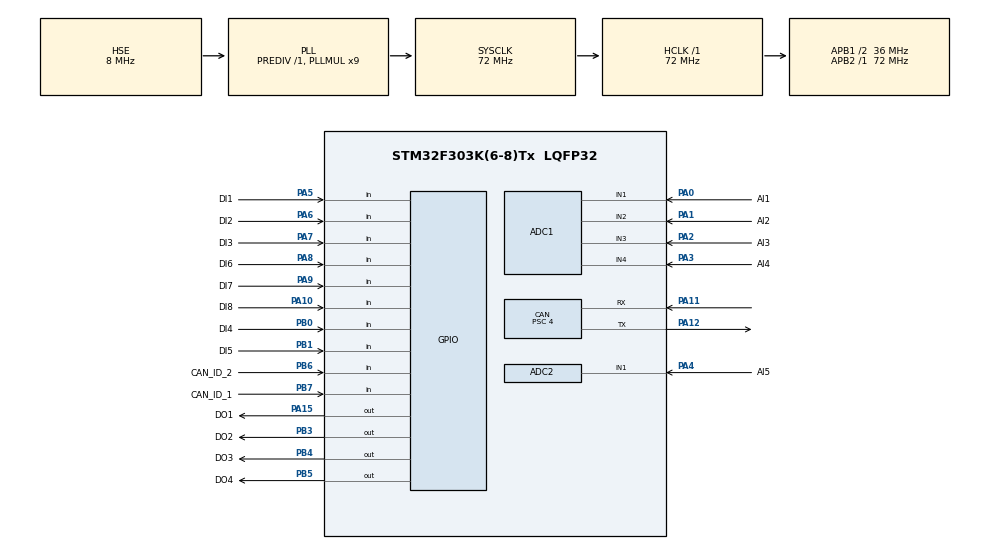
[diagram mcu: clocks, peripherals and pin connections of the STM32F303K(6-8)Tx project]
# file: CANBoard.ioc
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ADC1.Channel-0\#ChannelRegularConversion=ADC_CHANNEL_1
ADC1.Channel-1\#ChannelRegularConversion=ADC_CHANNEL_2
ADC1.Channel-2\#ChannelRegularConversion=ADC_CHANNEL_3
ADC1.Channel-3\#ChannelRegularConversion=ADC_CHANNEL_4
ADC1.Channel-4\#ChannelRegularConversion=ADC_CHANNEL_TEMPSENSOR
ADC1.ClockPrescaler=ADC_CLOCK_SYNC_PCLK_DIV4
ADC1.ContinuousConvMode=ENABLE
ADC1.DMAContinuousRequests=ENABLE
ADC1.NbrOfConversion=5
ADC1.NbrOfConversionFlag=1
ADC1.Offset-0\#ChannelRegularConversion=0
ADC1.Offset-1\#ChannelRegularConversion=0
ADC1.Offset-2\#ChannelRegularConversion=0
ADC1.Offset-3\#ChannelRegularConversion=0
ADC1.Offset-4\#ChannelRegularConversion=0
ADC1.OffsetNumber-0\#ChannelRegularConversion=ADC_OFFSET_NONE
ADC1.OffsetNumber-1\#ChannelRegularConversion=ADC_OFFSET_NONE
ADC1.OffsetNumber-2\#ChannelRegularConversion=ADC_OFFSET_NONE
ADC1.OffsetNumber-3\#ChannelRegularConversion=ADC_OFFSET_NONE
ADC1.OffsetNumber-4\#ChannelRegularConversion=ADC_OFFSET_NONE
ADC1.Rank-0\#ChannelRegularConversion=1
ADC1.Rank-1\#ChannelRegularConversion=2
ADC1.Rank-2\#ChannelRegularConversion=3
ADC1.Rank-3\#ChannelRegularConversion=4
ADC1.Rank-4\#ChannelRegularConversion=5
ADC1.SamplingTime-0\#ChannelRegularConversion=ADC_SAMPLETIME_601CYCLES_5
ADC1.SamplingTime-1\#ChannelRegularConversion=ADC_SAMPLETIME_601CYCLES_5
ADC1.SamplingTime-2\#ChannelRegularConversion=ADC_SAMPLETIME_601CYCLES_5
ADC1.SamplingTime-3\#ChannelRegularConversion=ADC_SAMPLETIME_601CYCLES_5
ADC1.SamplingTime-4\#ChannelRegularConversion=ADC_SAMPLETIME_601CYCLES_5
ADC1.SamplingTimeOPAMP-1\#ChannelRegularConversion=ADC_SAMPLETIME_7CYCLES_5
ADC1.SamplingTimeOPAMP-2\#ChannelRegularConversion=ADC_SAMPLETIME_7CYCLES_5
ADC1.SamplingTimeOPAMP-3\#ChannelRegularConversion=ADC_SAMPLETIME_7CYCLES_5
ADC1.SamplingTimeOPAMP-4\#ChannelRegularConversion=ADC_SAMPLETIME_7CYCLES_5
ADC1.SubFamily=STM32F303x8
ADC1.master=1
ADC2.Channel-0\#ChannelRegularConversion=ADC_CHANNEL_1
ADC2.ClockPrescaler=ADC_CLOCK_SYNC_PCLK_DIV4
ADC2.ContinuousConvMode=ENABLE
ADC2.DMAContinuousRequests=ENABLE
ADC2.NbrOfConversionFlag=1
ADC2.Offset-0\#ChannelRegularConversion=0
ADC2.OffsetNumber-0\#ChannelRegularConversion=ADC_OFFSET_NONE
ADC2.Rank-0\#ChannelRegularConversion=1
ADC2.SamplingTime-0\#ChannelRegularConversion=ADC_SAMPLETIME_601CYCLES_5
ADC2.SamplingTimeOPAMP-0\#ChannelRegularConversion=ADC_SAMPLETIME_61CYCLES_5
ADC2.SubFamily=STM32F303x8
CAN.BS1=CAN_BS1_15TQ
CAN.BS2=CAN_BS2_2TQ
CAN.CalculateBaudRate=500000
CAN.CalculateTimeBit=2000
CAN.CalculateTimeQuantum=111.11111111111111
CAN.Prescaler=4
CRC.InputDataInversionMode=CRC_INPUTDATA_INVERSION_BYTE
CRC.OutputDataInversionMode=CRC_OUTPUTDATA_INVERSION_ENABLE
Dma.ADC1.0.Direction=DMA_PERIPH_TO_MEMORY
Dma.ADC1.0.Instance=DMA1_Channel1
Dma.ADC1.0.MemDataAlignment=DMA_MDATAALIGN_HALFWORD
Dma.ADC1.0.MemInc=DMA_MINC_ENABLE
Dma.ADC1.0.Mode=DMA_CIRCULAR
Dma.ADC1.0.PeriphDataAlignment=DMA_PDATAALIGN_HALFWORD
Dma.ADC1.0.PeriphInc=DMA_PINC_DISABLE
Dma.ADC1.0.Priority=DMA_PRIORITY_LOW
Dma.ADC2.1.Direction=DMA_PERIPH_TO_MEMORY
Dma.ADC2.1.Instance=DMA1_Channel2
Dma.ADC2.1.MemDataAlignment=DMA_MDATAALIGN_HALFWORD
Dma.ADC2.1.MemInc=DMA_MINC_ENABLE
Dma.ADC2.1.Mode=DMA_CIRCULAR
Dma.ADC2.1.PeriphDataAlignment=DMA_PDATAALIGN_HALFWORD
Dma.ADC2.1.PeriphInc=DMA_PINC_DISABLE
Dma.ADC2.1.Priority=DMA_PRIORITY_LOW
Dma.Request0=ADC1
Dma.Request1=ADC2
FREERTOS.Tasks01=defaultTask,24,128,StartDefaultTask,Default,NULL,Dynamic,NULL,NULL;CanTxTask,8,128,StartCanTxTask,Default,NULL,Dynamic,NULL,NULL
Mcu.Family=STM32F3
Mcu.Name=STM32F303K(6-8)Tx
Mcu.Package=LQFP32
NVIC.CAN_RX0_IRQn=true\:5\:0\:false\:false\:true\:false\:true\:true\:true
NVIC.DMA1_Channel1_IRQn=true\:5\:0\:false\:false\:true\:true\:false\:true\:true
NVIC.DMA1_Channel2_IRQn=true\:5\:0\:false\:false\:true\:true\:false\:true\:true
NVIC.PriorityGroup=NVIC_PRIORITYGROUP_4
NVIC.TIM6_DAC1_IRQn=true\:0\:0\:false\:false\:true\:false\:false\:true\:true
NVIC.TimeBase=TIM6_DAC1_IRQn
NVIC.TimeBaseIP=TIM6
PA0.GPIO_Label=AI1
PA0.Mode=IN1-Single-Ended
PA0.Signal=ADC1_IN1
PA1.GPIO_Label=AI2
PA1.Mode=IN2-Single-Ended
PA1.Signal=ADC1_IN2
PA10.GPIO_Label=DI8
PA10.GPIO_PuPd=GPIO_PULLUP
PA10.Signal=GPIO_Input
PA11.Mode=CAN_Activate
PA11.Signal=CAN_RX
PA12.Mode=CAN_Activate
PA12.Signal=CAN_TX
PA13.Mode=Serial_Wire
PA13.Signal=SYS_JTMS-SWDIO
PA14.Mode=Serial_Wire
PA14.Signal=SYS_JTCK-SWCLK
PA15.GPIO_Label=DO1
PA15.GPIO_PuPd=GPIO_NOPULL
PA15.Signal=GPIO_Output
PA2.GPIO_Label=AI3
PA2.Mode=IN3-Single-Ended
PA2.Signal=ADC1_IN3
PA3.GPIO_Label=AI4
PA3.Mode=IN4-Single-Ended
PA3.Signal=ADC1_IN4
PA4.GPIO_Label=AI5
PA4.Mode=IN1-Single-Ended
PA4.Signal=ADC2_IN1
PA5.GPIO_Label=DI1
PA5.GPIO_PuPd=GPIO_PULLUP
PA5.Signal=GPIO_Input
PA6.GPIO_Label=DI2
PA6.GPIO_PuPd=GPIO_PULLUP
PA6.Signal=GPIO_Input
PA7.GPIO_Label=DI3
PA7.GPIO_PuPd=GPIO_PULLUP
PA7.Signal=GPIO_Input
PA8.GPIO_Label=DI6
PA8.GPIO_PuPd=GPIO_PULLUP
PA8.Signal=GPIO_Input
PA9.GPIO_Label=DI7
PA9.GPIO_PuPd=GPIO_PULLUP
PA9.Signal=GPIO_Input
PB0.GPIO_Label=DI4
PB0.GPIO_PuPd=GPIO_PULLUP
PB0.Signal=GPIO_Input
PB1.GPIO_Label=DI5
PB1.GPIO_PuPd=GPIO_PULLUP
PB1.Signal=GPIO_Input
PB3.GPIO_Label=DO2
PB3.GPIO_PuPd=GPIO_NOPULL
PB3.Signal=GPIO_Output
PB4.GPIO_Label=DO3
PB4.GPIO_PuPd=GPIO_NOPULL
PB4.Signal=GPIO_Output
PB5.GPIO_Label=DO4
PB5.GPIO_PuPd=GPIO_NOPULL
PB5.Signal=GPIO_Output
PB6.GPIO_Label=CAN_ID_2
PB6.GPIO_PuPd=GPIO_PULLDOWN
PB6.Signal=GPIO_Input
PB7.GPIO_Label=CAN_ID_1
PB7.GPIO_PuPd=GPIO_PULLDOWN
PB7.Signal=GPIO_Input
PF0\ /\ OSC_IN.Mode=HSE-External-Oscillator
PF0\ /\ OSC_IN.Signal=RCC_OSC_IN
PF1\ /\ OSC_OUT.Mode=HSE-External-Oscillator
PF1\ /\ OSC_OUT.Signal=RCC_OSC_OUT
ProjectManager.HeapSize=0x200
ProjectManager.StackSize=0x400
ProjectManager.TargetToolchain=CMake
RCC.AHBFreq_Value=72000000
RCC.APB1CLKDivider=RCC_HCLK_DIV2
RCC.APB1Freq_Value=36000000
RCC.APB1TimFreq_Value=72000000
RCC.APB2Freq_Value=72000000
RCC.APB2TimFreq_Value=72000000
RCC.CortexFreq_Value=72000000
RCC.HCLKFreq_Value=72000000
RCC.HSE_VALUE=8000000
RCC.HSI_VALUE=8000000
RCC.PLLMUL=RCC_PLL_MUL9
RCC.PLLSourceVirtual=RCC_PLLSOURCE_HSE
RCC.SYSCLKFreq_VALUE=72000000
RCC.SYSCLKSourceVirtual=RCC_SYSCLKSOURCE_PLLCLK
VP_ADC1_TempSens_Input.Mode=IN-TempSens
VP_CRC_VS_CRC.Mode=CRC_Activate
VP_FREERTOS_VS_CMSIS_V2.Mode=CMSIS_V2
VP_SYS_VS_tim6.Mode=TIM6
board=custom

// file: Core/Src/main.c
/* USER CODE BEGIN Header */
/**
  ******************************************************************************
  * @file           : main.c
  * @brief          : Main program body
  ******************************************************************************
  * @attention
  *
  * <h2><center>&copy; Copyright (c) 2020 STMicroelectronics.
  * All rights reserved.</center></h2>
  *
  * This software component is licensed by ST under BSD 3-Clause license,
  * the "License"; You may not use this file except in compliance with the
  * License. You may obtain a copy of the License at:
  *                        opensource.org/licenses/BSD-3-Clause
  *
  ******************************************************************************
  */
/* USER CODE END Header */
#include "main.h"
#include "cmsis_os.h"

/* USER CODE BEGIN PD */
#define MAIN_TASK_DELAY 10
#define ADC_1_COUNT 5
#define ADC_2_COUNT 1
#define DI_DEBOUNCE_TIME 10
#define CAN_BASE_ID 0x640
#define CAN_TX_DELAY 50
#define CAN_TX_MSG_SPLIT 5
/* USER CODE END PD */

ADC_HandleTypeDef hadc1;
ADC_HandleTypeDef hadc2;
DMA_HandleTypeDef hdma_adc1;
DMA_HandleTypeDef hdma_adc2;

CAN_HandleTypeDef hcan;

CRC_HandleTypeDef hcrc;

/* Definitions for defaultTask */
osThreadId_t defaultTaskHandle;
const osThreadAttr_t defaultTask_attributes = {
  .name = "defaultTask",
  .stack_size = 128 * 4,
  .priority = (osPriority_t) osPriorityNormal,
};
/* Definitions for CanTxTask */
osThreadId_t CanTxTaskHandle;
const osThreadAttr_t CanTxTask_attributes = {
  .name = "CanTxTask",
  .stack_size = 128 * 4,
  .priority = (osPriority_t) osPriorityLow,
};
/* USER CODE BEGIN PV */
const uint16_t* const STM32_TEMP_3V3_30C =  (uint16_t*)(0x1FFFF7B8);
const uint16_t* const STM32_TEMP_3V3_110C =  (uint16_t*)(0x1FFFF7C2);

volatile uint16_t anInAdc1[ADC_1_COUNT];
volatile uint16_t anInAdc2[ADC_2_COUNT];

static volatile uint8_t digIn[8];
static volatile uint8_t digOut[4];
static volatile uint16_t anIn[5];
static volatile uint16_t temperature;

static volatile uint8_t lastDigIn[8];
static volatile uint32_t digInTrigTime[8];
static volatile uint8_t checkDigInTime[8];

static CAN_TxHeaderTypeDef   CanTxHeader;
static CAN_RxHeaderTypeDef   CanRxHeader;
static uint8_t               CanTxData[8];
static uint8_t               CanRxData[8];
static uint32_t              CanTxMailbox;
static volatile uint8_t CanHeartbeat;
static volatile uint8_t nCanDigOut[4];
static volatile uint8_t nCanRotarySwitch[5];
static volatile uint8_t nCanAnalogSwitch[5];
static volatile uint8_t nCanRotaryInvert[5];

static volatile uint8_t nCanBaseIdOffset;
static volatile uint8_t nCanId1;
static volatile uint8_t nCanId2;

/* USER CODE END PV */

void SystemClock_Config(void);
static void MX_GPIO_Init(void);
static void MX_DMA_Init(void);
static void MX_ADC1_Init(void);
static void MX_CAN_Init(void);
static void MX_CRC_Init(void);
static void MX_ADC2_Init(void);
void StartDefaultTask(void *argument);
void StartCanTxTask(void *argument);

int main(void)
{

  /* MCU Configuration--------------------------------------------------------*/

  /* Reset of all peripherals, Initializes the Flash interface and the Systick. */
  HAL_Init();

  /* Configure the system clock */
  SystemClock_Config();

  /* Initialize all configured peripherals */
  MX_GPIO_Init();
  MX_DMA_Init();
  MX_ADC1_Init();
  MX_CAN_Init();
  MX_CRC_Init();
  MX_ADC2_Init();
  /* USER CODE BEGIN 2 */

  HAL_ADC_Start_DMA(&hadc1, (uint32_t*) anInAdc1, ADC_1_COUNT);
  HAL_ADC_Start_DMA(&hadc2, (uint32_t*) anInAdc2, ADC_2_COUNT);

  /* USER CODE END 2 */

  /* Init scheduler */
  osKernelInitialize();

  /* Create the thread(s) */
  /* creation of defaultTask */
  defaultTaskHandle = osThreadNew(StartDefaultTask, NULL, &defaultTask_attributes);

  /* creation of CanTxTask */
  CanTxTaskHandle = osThreadNew(StartCanTxTask, NULL, &CanTxTask_attributes);

  /* Start scheduler */
  osKernelStart();

  /* We should never get here as control is now taken by the scheduler */

  /* Infinite loop */
  while (1)
  {

  }
}

void SystemClock_Config(void)
{
  RCC_OscInitTypeDef RCC_OscInitStruct = {0};
  RCC_ClkInitTypeDef RCC_ClkInitStruct = {0};

  /** Initializes the RCC Oscillators according to the specified parameters
  * in the RCC_OscInitTypeDef structure.
  */
  RCC_OscInitStruct.OscillatorType = RCC_OSCILLATORTYPE_HSE;
  RCC_OscInitStruct.HSEState = RCC_HSE_ON;
  RCC_OscInitStruct.HSEPredivValue = RCC_HSE_PREDIV_DIV1;
  RCC_OscInitStruct.HSIState = RCC_HSI_ON;
  RCC_OscInitStruct.PLL.PLLState = RCC_PLL_ON;
  RCC_OscInitStruct.PLL.PLLSource = RCC_PLLSOURCE_HSE;
  RCC_OscInitStruct.PLL.PLLMUL = RCC_PLL_MUL9;
  if (HAL_RCC_OscConfig(&RCC_OscInitStruct) != HAL_OK)
  {
    Error_Handler();
  }

  /** Initializes the CPU, AHB and APB buses clocks
  */
  RCC_ClkInitStruct.ClockType = RCC_CLOCKTYPE_HCLK|RCC_CLOCKTYPE_SYSCLK
                              |RCC_CLOCKTYPE_PCLK1|RCC_CLOCKTYPE_PCLK2;
  RCC_ClkInitStruct.SYSCLKSource = RCC_SYSCLKSOURCE_PLLCLK;
  RCC_ClkInitStruct.AHBCLKDivider = RCC_SYSCLK_DIV1;
  RCC_ClkInitStruct.APB1CLKDivider = RCC_HCLK_DIV2;
  RCC_ClkInitStruct.APB2CLKDivider = RCC_HCLK_DIV1;

  if (HAL_RCC_ClockConfig(&RCC_ClkInitStruct, FLASH_LATENCY_2) != HAL_OK)
  {
    Error_Handler();
  }
}

static void MX_ADC1_Init(void)
{

  ADC_MultiModeTypeDef multimode = {0};
  ADC_ChannelConfTypeDef sConfig = {0};

  /** Common config
  */
  hadc1.Instance = ADC1;
  hadc1.Init.ClockPrescaler = ADC_CLOCK_SYNC_PCLK_DIV4;
  hadc1.Init.Resolution = ADC_RESOLUTION_12B;
  hadc1.Init.ScanConvMode = ADC_SCAN_ENABLE;
  hadc1.Init.ContinuousConvMode = ENABLE;
  hadc1.Init.DiscontinuousConvMode = DISABLE;
  hadc1.Init.ExternalTrigConvEdge = ADC_EXTERNALTRIGCONVEDGE_NONE;
  hadc1.Init.ExternalTrigConv = ADC_SOFTWARE_START;
  hadc1.Init.DataAlign = ADC_DATAALIGN_RIGHT;
  hadc1.Init.NbrOfConversion = 5;
  hadc1.Init.DMAContinuousRequests = ENABLE;
  hadc1.Init.EOCSelection = ADC_EOC_SINGLE_CONV;
  hadc1.Init.LowPowerAutoWait = DISABLE;
  hadc1.Init.Overrun = ADC_OVR_DATA_OVERWRITTEN;
  if (HAL_ADC_Init(&hadc1) != HAL_OK)
  {
    Error_Handler();
  }

  /** Configure the ADC multi-mode
  */
  multimode.Mode = ADC_MODE_INDEPENDENT;
  if (HAL_ADCEx_MultiModeConfigChannel(&hadc1, &multimode) != HAL_OK)
  {
    Error_Handler();
  }

  /** Configure Regular Channel
  */
  sConfig.Channel = ADC_CHANNEL_1;
  sConfig.Rank = ADC_REGULAR_RANK_1;
  sConfig.SingleDiff = ADC_SINGLE_ENDED;
  sConfig.SamplingTime = ADC_SAMPLETIME_601CYCLES_5;
  sConfig.OffsetNumber = ADC_OFFSET_NONE;
  sConfig.Offset = 0;
  if (HAL_ADC_ConfigChannel(&hadc1, &sConfig) != HAL_OK)
  {
    Error_Handler();
  }

  /** Configure Regular Channel
  */
  sConfig.Channel = ADC_CHANNEL_2;
  sConfig.Rank = ADC_REGULAR_RANK_2;
  if (HAL_ADC_ConfigChannel(&hadc1, &sConfig) != HAL_OK)
  {
    Error_Handler();
  }

  /** Configure Regular Channel
  */
  sConfig.Channel = ADC_CHANNEL_3;
  sConfig.Rank = ADC_REGULAR_RANK_3;
  if (HAL_ADC_ConfigChannel(&hadc1, &sConfig) != HAL_OK)
  {
    Error_Handler();
  }

  /** Configure Regular Channel
  */
  sConfig.Channel = ADC_CHANNEL_4;
  sConfig.Rank = ADC_REGULAR_RANK_4;
  if (HAL_ADC_ConfigChannel(&hadc1, &sConfig) != HAL_OK)
  {
    Error_Handler();
  }

  /** Configure Regular Channel
  */
  sConfig.Channel = ADC_CHANNEL_TEMPSENSOR;
  sConfig.Rank = ADC_REGULAR_RANK_5;
  if (HAL_ADC_ConfigChannel(&hadc1, &sConfig) != HAL_OK)
  {
    Error_Handler();
  }

}

static void MX_ADC2_Init(void)
{

  ADC_ChannelConfTypeDef sConfig = {0};

  /** Common config
  */
  hadc2.Instance = ADC2;
  hadc2.Init.ClockPrescaler = ADC_CLOCK_SYNC_PCLK_DIV4;
  hadc2.Init.Resolution = ADC_RESOLUTION_12B;
  hadc2.Init.ScanConvMode = ADC_SCAN_DISABLE;
  hadc2.Init.ContinuousConvMode = ENABLE;
  hadc2.Init.DiscontinuousConvMode = DISABLE;
  hadc2.Init.ExternalTrigConvEdge = ADC_EXTERNALTRIGCONVEDGE_NONE;
  hadc2.Init.ExternalTrigConv = ADC_SOFTWARE_START;
  hadc2.Init.DataAlign = ADC_DATAALIGN_RIGHT;
  hadc2.Init.NbrOfConversion = 1;
  hadc2.Init.DMAContinuousRequests = ENABLE;
  hadc2.Init.EOCSelection = ADC_EOC_SINGLE_CONV;
  hadc2.Init.LowPowerAutoWait = DISABLE;
  hadc2.Init.Overrun = ADC_OVR_DATA_OVERWRITTEN;
  if (HAL_ADC_Init(&hadc2) != HAL_OK)
  {
    Error_Handler();
  }

  /** Configure Regular Channel
  */
  sConfig.Channel = ADC_CHANNEL_1;
  sConfig.Rank = ADC_REGULAR_RANK_1;
  sConfig.SingleDiff = ADC_SINGLE_ENDED;
  sConfig.SamplingTime = ADC_SAMPLETIME_601CYCLES_5;
  sConfig.OffsetNumber = ADC_OFFSET_NONE;
  sConfig.Offset = 0;
  if (HAL_ADC_ConfigChannel(&hadc2, &sConfig) != HAL_OK)
  {
    Error_Handler();
  }

}

static void MX_CAN_Init(void)
{

  hcan.Instance = CAN;
  hcan.Init.Prescaler = 4;
  hcan.Init.Mode = CAN_MODE_NORMAL;
  hcan.Init.SyncJumpWidth = CAN_SJW_1TQ;
  hcan.Init.TimeSeg1 = CAN_BS1_15TQ;
  hcan.Init.TimeSeg2 = CAN_BS2_2TQ;
  hcan.Init.TimeTriggeredMode = DISABLE;
  hcan.Init.AutoBusOff = DISABLE;
  hcan.Init.AutoWakeUp = DISABLE;
  hcan.Init.AutoRetransmission = DISABLE;
  hcan.Init.ReceiveFifoLocked = DISABLE;
  hcan.Init.TransmitFifoPriority = DISABLE;
  if (HAL_CAN_Init(&hcan) != HAL_OK)
  {
    Error_Handler();
  }
  /* USER CODE BEGIN CAN_Init 2 */
  //---------------------------------------------------------------
  //Set CAN RX filter
  //---------------------------------------------------------------
  CAN_FilterTypeDef  sFilterConfig;

  sFilterConfig.FilterBank = 0;
  sFilterConfig.FilterMode = CAN_FILTERMODE_IDMASK;
  sFilterConfig.FilterScale = CAN_FILTERSCALE_32BIT;
  sFilterConfig.FilterIdHigh = 0x0000;
  sFilterConfig.FilterIdLow = 0x0000;
  sFilterConfig.FilterMaskIdHigh = 0x0000;
  sFilterConfig.FilterMaskIdLow = 0x0000;
  sFilterConfig.FilterFIFOAssignment = CAN_RX_FIFO0;
  sFilterConfig.FilterActivation = ENABLE;
  sFilterConfig.SlaveStartFilterBank = 14;

  if (HAL_CAN_ConfigFilter(&hcan, &sFilterConfig) != HAL_OK)
  {
    /* Filter configuration Error */
    Error_Handler();
  }

  CanTxHeader.StdId = CAN_BASE_ID + nCanBaseIdOffset;
  CanTxHeader.ExtId = 0;
  CanTxHeader.RTR = CAN_RTR_DATA;
  CanTxHeader.IDE = CAN_ID_STD;
  CanTxHeader.DLC = 8;
  CanTxHeader.TransmitGlobalTime = DISABLE;

  if (HAL_CAN_Start(&hcan) != HAL_OK)
  {
    /* Start Error */
    Error_Handler();
  }

  //---------------------------------------------------------------
  //Set CAN RX interrupt
  //---------------------------------------------------------------
  if (HAL_CAN_ActivateNotification(&hcan, CAN_IT_RX_FIFO0_MSG_PENDING) != HAL_OK)
  {
    /* Notification Error */
    Error_Handler();
  }
  /* USER CODE END CAN_Init 2 */

}

static void MX_CRC_Init(void)
{

  hcrc.Instance = CRC;
  hcrc.Init.DefaultPolynomialUse = DEFAULT_POLYNOMIAL_ENABLE;
  hcrc.Init.DefaultInitValueUse = DEFAULT_INIT_VALUE_ENABLE;
  hcrc.Init.InputDataInversionMode = CRC_INPUTDATA_INVERSION_BYTE;
  hcrc.Init.OutputDataInversionMode = CRC_OUTPUTDATA_INVERSION_ENABLE;
  hcrc.InputDataFormat = CRC_INPUTDATA_FORMAT_BYTES;
  if (HAL_CRC_Init(&hcrc) != HAL_OK)
  {
    Error_Handler();
  }

}

static void MX_DMA_Init(void)
{

  /* DMA controller clock enable */
  __HAL_RCC_DMA1_CLK_ENABLE();

  /* DMA interrupt init */
  /* DMA1_Channel1_IRQn interrupt configuration */
  HAL_NVIC_SetPriority(DMA1_Channel1_IRQn, 5, 0);
  HAL_NVIC_EnableIRQ(DMA1_Channel1_IRQn);
  /* DMA1_Channel2_IRQn interrupt configuration */
  HAL_NVIC_SetPriority(DMA1_Channel2_IRQn, 5, 0);
  HAL_NVIC_EnableIRQ(DMA1_Channel2_IRQn);

}

static void MX_GPIO_Init(void)
{
  GPIO_InitTypeDef GPIO_InitStruct = {0};

  /* GPIO Ports Clock Enable */
  __HAL_RCC_GPIOF_CLK_ENABLE();
  __HAL_RCC_GPIOA_CLK_ENABLE();
  __HAL_RCC_GPIOB_CLK_ENABLE();

  /*Configure GPIO pin Output Level */
  HAL_GPIO_WritePin(DO1_GPIO_Port, DO1_Pin, GPIO_PIN_RESET);

  /*Configure GPIO pin Output Level */
  HAL_GPIO_WritePin(GPIOB, DO2_Pin|DO3_Pin|DO4_Pin, GPIO_PIN_RESET);

  /*Configure GPIO pins : DI1_Pin DI2_Pin DI3_Pin DI6_Pin
                           DI7_Pin DI8_Pin */
  GPIO_InitStruct.Pin = DI1_Pin|DI2_Pin|DI3_Pin|DI6_Pin
                          |DI7_Pin|DI8_Pin;
  GPIO_InitStruct.Mode = GPIO_MODE_INPUT;
  GPIO_InitStruct.Pull = GPIO_PULLUP;
  HAL_GPIO_Init(GPIOA, &GPIO_InitStruct);

  /*Configure GPIO pins : DI4_Pin DI5_Pin */
  GPIO_InitStruct.Pin = DI4_Pin|DI5_Pin;
  GPIO_InitStruct.Mode = GPIO_MODE_INPUT;
  GPIO_InitStruct.Pull = GPIO_PULLUP;
  HAL_GPIO_Init(GPIOB, &GPIO_InitStruct);

  /*Configure GPIO pin : DO1_Pin */
  GPIO_InitStruct.Pin = DO1_Pin;
  GPIO_InitStruct.Mode = GPIO_MODE_OUTPUT_PP;
  GPIO_InitStruct.Pull = GPIO_NOPULL;
  GPIO_InitStruct.Speed = GPIO_SPEED_FREQ_LOW;
  HAL_GPIO_Init(DO1_GPIO_Port, &GPIO_InitStruct);

  /*Configure GPIO pins : DO2_Pin DO3_Pin DO4_Pin */
  GPIO_InitStruct.Pin = DO2_Pin|DO3_Pin|DO4_Pin;
  GPIO_InitStruct.Mode = GPIO_MODE_OUTPUT_PP;
  GPIO_InitStruct.Pull = GPIO_NOPULL;
  GPIO_InitStruct.Speed = GPIO_SPEED_FREQ_LOW;
  HAL_GPIO_Init(GPIOB, &GPIO_InitStruct);

  /*Configure GPIO pins : CAN_ID_2_Pin CAN_ID_1_Pin */
  GPIO_InitStruct.Pin = CAN_ID_2_Pin|CAN_ID_1_Pin;
  GPIO_InitStruct.Mode = GPIO_MODE_INPUT;
  GPIO_InitStruct.Pull = GPIO_PULLDOWN;
  HAL_GPIO_Init(GPIOB, &GPIO_InitStruct);

}

/* USER CODE BEGIN 4 */
void HAL_CAN_RxFifo0MsgPendingCallback(CAN_HandleTypeDef *hcan)
{

  if(HAL_CAN_GetRxMessage(hcan, CAN_RX_FIFO0, &CanRxHeader, CanRxData) != HAL_OK)
  {
    Error_Handler();
  }

  if((CanRxHeader.StdId == CAN_BASE_ID + nCanBaseIdOffset + 3) && (CanRxHeader.IDE == CAN_ID_STD) && (CanRxHeader.DLC >= 4))
  {
    nCanDigOut[0] = CanRxData[0] & 0x01;
    nCanDigOut[1] = CanRxData[1] & 0x01;
    nCanDigOut[2] = CanRxData[2] & 0x01;
    nCanDigOut[3] = CanRxData[3] & 0x01;
  }
}

void TxCanMsgs()
{
  //=======================================================
  //Build Msg 0 (Analog inputs 1-4 millivolts)
  //=======================================================
  CanTxHeader.StdId = CAN_BASE_ID + nCanBaseIdOffset + 0;
  CanTxHeader.DLC = 8; //Bytes to send
  CanTxData[0] = ((float)anIn[0] / 4096) * 4850; //Scaled to 4.85v - voltage divider on input, 3.3V = 4.85V on input
  CanTxData[1] = ((float)(anIn[0] >> 8) / 4096) * 4850;
  CanTxData[2] = ((float)anIn[1] / 4096) * 4850;
  CanTxData[3] = ((float)(anIn[1] >> 8) / 4096) * 4850;
  CanTxData[4] = ((float)anIn[2] / 4096) * 4850;
  CanTxData[5] = ((float)(anIn[2] >> 8) / 4096) * 4850;
  CanTxData[6] = ((float)anIn[3] / 4096) * 4850;
  CanTxData[7] = ((float)(anIn[3] >> 8) / 4096) * 4850;

  //=======================================================
  //Send CAN msg
  //=======================================================
  if(HAL_CAN_AddTxMessage(&hcan, &CanTxHeader, CanTxData, &CanTxMailbox) != HAL_OK){
    Error_Handler();
  }

  osDelay(CAN_TX_MSG_SPLIT);

  //=======================================================
  //Build Msg 1 (Analog input 5 millivolts and temperature)
  //=======================================================
  CanTxHeader.StdId = CAN_BASE_ID + nCanBaseIdOffset + 1;
  CanTxHeader.DLC = 8; //Bytes to send
  CanTxData[0] = ((float)anIn[4] / 4096) * 4850; //Scaled to 4.85v - voltage divider on input, 3.3V = 4.85V on input
  CanTxData[1] = ((float)(anIn[4] >> 8) / 4096) * 4850;
  CanTxData[2] = 0;
  CanTxData[3] = 0;
  CanTxData[4] = 0;
  CanTxData[5] = 0;
  CanTxData[6] = temperature;
  CanTxData[7] = (temperature >> 8);

  //=======================================================
  //Send CAN msg
  //=======================================================
  if(HAL_CAN_AddTxMessage(&hcan, &CanTxHeader, CanTxData, &CanTxMailbox) != HAL_OK){
    Error_Handler();
  }

  osDelay(CAN_TX_MSG_SPLIT);

  for(int i=0; i<5; i++)
  {
    if(nCanRotaryInvert[i]){
      //Analog as rotary switch
      if(anIn[i] > 3300)
        nCanRotarySwitch[i] = 0;
      if((anIn[i] <= 3300) && (anIn[i] > 2700))
        nCanRotarySwitch[i] = 1;
      if((anIn[i] <= 2700) && (anIn[i] > 2200))
        nCanRotarySwitch[i] = 2;
      if((anIn[i] <= 2200) && (anIn[i] > 1800))
        nCanRotarySwitch[i] = 3;
      if((anIn[i] <= 1800) && (anIn[i] > 1400))
        nCanRotarySwitch[i] = 4;
      if((anIn[i] <= 1400) && (anIn[i] > 1000))
        nCanRotarySwitch[i] = 5;
      if((anIn[i] <= 1000) && (anIn[i] > 600))
        nCanRotarySwitch[i] = 6;
      if(anIn[i] <= 600)
        nCanRotarySwitch[i] = 7;
    }
    else
    {
      //Analog as rotary switch
      if(anIn[i] > 3300)
        nCanRotarySwitch[i] = 7;
      if((anIn[i] <= 3300) && (anIn[i] > 2700))
        nCanRotarySwitch[i] = 6;
      if((anIn[i] <= 2700) && (anIn[i] > 2200))
        nCanRotarySwitch[i] = 5;
      if((anIn[i] <= 2200) && (anIn[i] > 1800))
        nCanRotarySwitch[i] = 4;
      if((anIn[i] <= 1800) && (anIn[i] > 1400))
        nCanRotarySwitch[i] = 3;
      if((anIn[i] <= 1400) && (anIn[i] > 1000))
        nCanRotarySwitch[i] = 2;
      if((anIn[i] <= 1000) && (anIn[i] > 600))
        nCanRotarySwitch[i] = 1;
      if(anIn[i] <= 600)
        nCanRotarySwitch[i] = 0;
    }

    //Analog as digital switch
    nCanAnalogSwitch[i] = anIn[i] > 2048;
  }

  //=======================================================
  //Build Msg 2 (Rotary switches, dig inputs, analog input switches, low side output status, heartbeat)
  //=======================================================
  CanTxHeader.StdId = CAN_BASE_ID + nCanBaseIdOffset + 2;
  CanTxHeader.DLC = 8; //Bytes to send
  CanTxData[0] = (nCanRotarySwitch[1] << 4) + nCanRotarySwitch[0];
  CanTxData[1] = (nCanRotarySwitch[3] << 4) + nCanRotarySwitch[2];
  CanTxData[2] = nCanRotarySwitch[4];
  CanTxData[3] = 0; //Empty
  CanTxData[4] = (digIn[7] << 7) + (digIn[6] << 6) + (digIn[5] << 5) + (digIn[4] << 4) + (digIn[3] << 3) + (digIn[2] << 2) + (digIn[1] << 1) + digIn[0];
  CanTxData[5] = (nCanAnalogSwitch[4] << 4) + (nCanAnalogSwitch[3] << 3) + (nCanAnalogSwitch[2] << 2) + (nCanAnalogSwitch[1] << 1) + nCanAnalogSwitch[0];
  CanTxData[6] = (nCanDigOut[3] << 3) + (nCanDigOut[2] << 2) + (nCanDigOut[1] << 1) + nCanDigOut[0];;
  CanTxData[7] = CanHeartbeat;

  //=======================================================
  //Send CAN msg
  //=======================================================
  if(HAL_CAN_AddTxMessage(&hcan, &CanTxHeader, CanTxData, &CanTxMailbox) != HAL_OK){
    Error_Handler();
  }

  CanHeartbeat++;
}

/* USER CODE END 4 */

void StartDefaultTask(void *argument)
{
  /* USER CODE BEGIN 5 */
  nCanRotaryInvert[0] = 1;
  nCanRotaryInvert[1] = 0;
  nCanRotaryInvert[2] = 0;
  nCanRotaryInvert[3] = 0;
  nCanRotaryInvert[4] = 0;

  /* Infinite loop */
  for(;;)
  {
    //=======================================================
    //Set CAN base ID
    //=======================================================
    nCanId1 = HAL_GPIO_ReadPin(CAN_ID_1_GPIO_Port, CAN_ID_1_Pin);
    nCanId2 = HAL_GPIO_ReadPin(CAN_ID_2_GPIO_Port, CAN_ID_2_Pin);
    nCanBaseIdOffset = (nCanId1 << 4) + (nCanId2 << 5);

    //=======================================================
    //Set digital outputs
    //=======================================================
    if(nCanDigOut[0] == 0)
      DO1_GPIO_Port->ODR &= ~DO1_Pin;
    else
      DO1_GPIO_Port->ODR |= DO1_Pin;

    if(nCanDigOut[1] == 0)
      DO2_GPIO_Port->ODR &= ~DO2_Pin;
    else
      DO2_GPIO_Port->ODR |= DO2_Pin;

    if(nCanDigOut[2] == 0)
      DO3_GPIO_Port->ODR &= ~DO3_Pin;
    else
      DO3_GPIO_Port->ODR |= DO3_Pin;

    if(nCanDigOut[3] == 0)
      DO4_GPIO_Port->ODR &= ~DO4_Pin;
    else
      DO4_GPIO_Port->ODR |= DO4_Pin;

    osDelay(MAIN_TASK_DELAY);
  }
  /* USER CODE END 5 */
}

void StartCanTxTask(void *argument)
{
  /* USER CODE BEGIN StartCanTxTask */
  /* Infinite loop */
  for(;;)
  {
    //=======================================================
    //Read digital input pins
    //=======================================================
    digIn[0] = !HAL_GPIO_ReadPin(DI1_GPIO_Port, DI1_Pin);
    digIn[1] = !HAL_GPIO_ReadPin(DI2_GPIO_Port, DI2_Pin);
    digIn[2] = !HAL_GPIO_ReadPin(DI3_GPIO_Port, DI3_Pin);
    digIn[3] = !HAL_GPIO_ReadPin(DI4_GPIO_Port, DI4_Pin);
    digIn[4] = !HAL_GPIO_ReadPin(DI5_GPIO_Port, DI5_Pin);
    digIn[5] = !HAL_GPIO_ReadPin(DI6_GPIO_Port, DI6_Pin);
    digIn[6] = !HAL_GPIO_ReadPin(DI7_GPIO_Port, DI7_Pin);
    digIn[7] = !HAL_GPIO_ReadPin(DI8_GPIO_Port, DI8_Pin);

    //=======================================================
    //Debounce and latch logic
    //=======================================================
    /*
    //Last transition recorded
    if(digIn[2] != lastDigIn[2])
      if(digIn[2] == GPIO_PIN_SET){
        digInTrigTime[2] = HAL_GetTick();
        checkDigInTime[2] = 1;
      }

    lastDigIn[2] = digIn[2];

    if(checkDigInTime[2] && ((HAL_GetTick() - digInTrigTime[2]) > DI_DEBOUNCE_TIME)){
      digOut[2] = !digOut[2];
      checkDigInTime[2] = 0;
    }
    */

    //=======================================================
    //Copy analog input DMA to local vars (single array)
    //=======================================================
    anIn[0] = anInAdc1[0];
    anIn[1] = anInAdc1[1];
    anIn[2] = anInAdc1[2];
    anIn[3] = anInAdc1[3];
    anIn[4] = anInAdc2[0];

    //=======================================================
    //Scale temperature based on factory calibration
    //=======================================================
    temperature = (uint16_t)((80.0 / ((float)(*STM32_TEMP_3V3_110C) - (float)(*STM32_TEMP_3V3_30C)) *
                              (((float)anInAdc2[0]) - (float)(*STM32_TEMP_3V3_30C)) + 30.0) * 10.0);

    //=======================================================
    //Tx CAN messages
    //=======================================================
    TxCanMsgs();
    osDelay(CAN_TX_DELAY);
  }
  /* USER CODE END StartCanTxTask */
}

void HAL_TIM_PeriodElapsedCallback(TIM_HandleTypeDef *htim)
{
  if (htim->Instance == TIM6) {
    HAL_IncTick();
  }
}

void Error_Handler(void)
{
}
